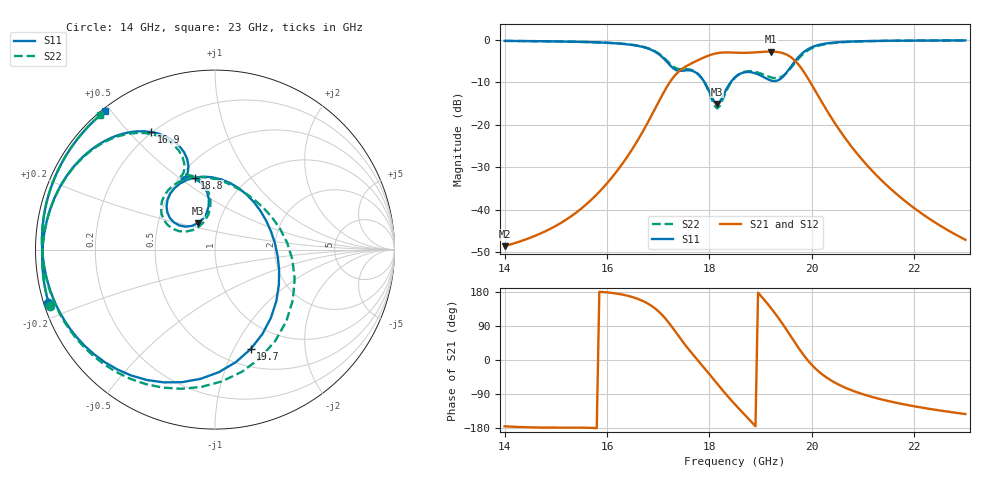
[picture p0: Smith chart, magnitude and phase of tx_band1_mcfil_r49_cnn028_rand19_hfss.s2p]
! Touchstone file exported from HFSS 3D Layout Design 2026.1.0
!  File:  D:/Work/SIM/ADS_AUTO_SIM/projects/RFSOC_RF/TX_Fillter.aedt
!  Generated:  04:58:17 AM Aug 31, 2026
!  Design:  TX_BAND1_MCFIL_R49_CNN028
!  Project:  TX_Fillter
# GHz S MA R 50.000000
! Terminal data exported
! Port[1] = Port1
! Port[2] = Port2
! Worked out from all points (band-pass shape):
!   181 points, 14 GHz to 23 GHz, reference 50 ohm
!   highest |S21| = -2.75 dB at 19.2 GHz (marker M1); lowest = -48.6 dB at 14 GHz (marker M2)
!   |S21| within 3 dB of the highest: 17.62 GHz to 19.73 GHz (2.119 GHz wide, 11.3 % of centre)
!   lowest |S11| = -15.1 dB at 18.15 GHz (marker M3), VSWR 1.43, Z = 39.7 + j12 ohm
!   |S11| at or under -10 dB: 17.91 GHz to 18.42 GHz (510.3 MHz wide, 2.81 % of centre)
!   |S22| runs from -16.2 to -0.1 dB; largest |S21 - S12| = 1.3e-14
!   S11 on the Smith chart (normalised r, x): 14 GHz: 0.01, -0.16; 16.9 GHz: 0.19, +0.58; 18.8 GHz: 0.59, +0.57; 19.7 GHz: 0.69, -1.17; 23 GHz: 0.01, +0.48
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14  0.9736 -162.4  0.003698 -175.0  0.003698 -175.0  0.974 -161.2
15.5  0.9472 167.4  0.01029 -178.5  0.01029 -178.5  0.9483 168.8
16.3  0.8988 144.8  0.03463 172.7  0.03463 172.7  0.9014 146.5
16.9  0.7466 118.6  0.1392 139.9  0.1392 139.9  0.7553 120.8
17  0.6863 113.4  0.1818 129.0  0.1818 129.0  0.6979 115.8
17.2  0.5267 107.1  0.2992 99.6  0.2992 99.6  0.5464 109.4
17.5  0.4346 115.3  0.47 44.6  0.47 44.6  0.4511 114.9
17.85  0.3543 99.6  0.6047 -13.1  0.6047 -13.1  0.3545 98.4
18.15  0.1754 123.0  0.697 -62.3  0.697 -62.3  0.1557 124.9
18.3  0.2406 146.0  0.7116 -86.7  0.7116 -86.7  0.2272 153.0
18.5  0.3624 138.2  0.7078 -117.2  0.7078 -117.2  0.3593 146.1
18.8  0.417 105.8  0.7069 -160.2  0.7069 -160.2  0.4276 117.7
19  0.3803 77.2  0.72 170.1  0.72 170.1  0.4023 95.2
19.2  0.3325 40.0  0.7288 137.5  0.7288 137.5  0.362 67.9
19.45  0.375 -17.7  0.6936 91.3  0.6936 91.3  0.3806 17.8
19.7  0.5887 -70.3  0.5461 40.1  0.5461 40.1  0.5628 -45.0
19.85  0.7246 -96.4  0.4149 11.3  0.4149 11.3  0.6974 -77.7
20  0.8197 -117.6  0.2954 -12.9  0.2954 -12.9  0.7976 -103.5
20.25  0.9019 -143.3  0.1629 -42.6  0.1629 -42.6  0.8888 -133.9
20.55  0.9425 -163.9  0.08486 -66.6  0.08486 -66.6  0.9355 -157.4
21.5  0.9768 159.8  0.01844 -108.5  0.01844 -108.5  0.9755 163.1
23  0.9851 128.5  0.004399 -142.6  0.004399 -142.6  0.9851 130.5
